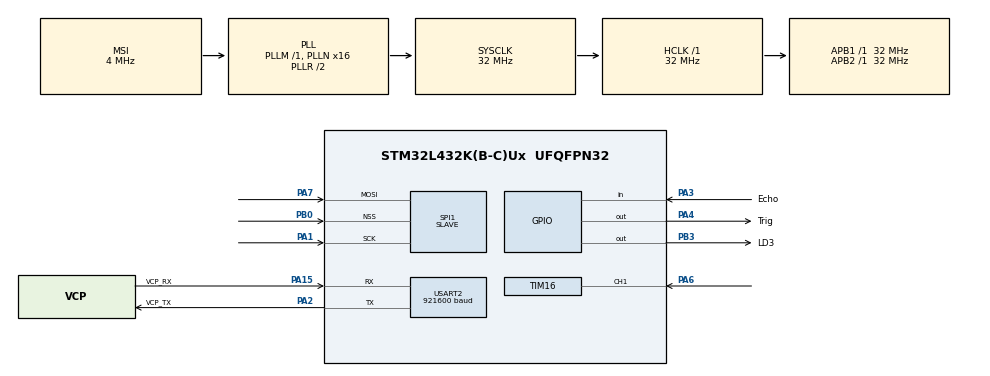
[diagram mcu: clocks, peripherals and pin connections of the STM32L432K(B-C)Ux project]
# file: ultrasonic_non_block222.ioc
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Dma.Request0=SPI1_RX
Dma.Request1=USART2_TX
Dma.SPI1_RX.0.Direction=DMA_PERIPH_TO_MEMORY
Dma.SPI1_RX.0.Instance=DMA2_Channel3
Dma.SPI1_RX.0.MemDataAlignment=DMA_MDATAALIGN_HALFWORD
Dma.SPI1_RX.0.MemInc=DMA_MINC_ENABLE
Dma.SPI1_RX.0.Mode=DMA_CIRCULAR
Dma.SPI1_RX.0.PeriphDataAlignment=DMA_PDATAALIGN_HALFWORD
Dma.SPI1_RX.0.PeriphInc=DMA_PINC_DISABLE
Dma.SPI1_RX.0.Priority=DMA_PRIORITY_LOW
Dma.USART2_TX.1.Direction=DMA_MEMORY_TO_PERIPH
Dma.USART2_TX.1.Instance=DMA1_Channel7
Dma.USART2_TX.1.MemDataAlignment=DMA_MDATAALIGN_BYTE
Dma.USART2_TX.1.MemInc=DMA_MINC_ENABLE
Dma.USART2_TX.1.Mode=DMA_NORMAL
Dma.USART2_TX.1.PeriphDataAlignment=DMA_PDATAALIGN_BYTE
Dma.USART2_TX.1.PeriphInc=DMA_PINC_DISABLE
Dma.USART2_TX.1.Priority=DMA_PRIORITY_LOW
Mcu.Family=STM32L4
Mcu.Name=STM32L432K(B-C)Ux
Mcu.Package=UFQFPN32
NVIC.DMA1_Channel7_IRQn=true\:0\:0\:false\:false\:true\:false\:true\:true
NVIC.DMA2_Channel3_IRQn=true\:0\:0\:false\:false\:true\:false\:true\:true
NVIC.PriorityGroup=NVIC_PRIORITYGROUP_4
NVIC.SPI1_IRQn=true\:0\:0\:false\:false\:true\:true\:true\:true
NVIC.TIM1_BRK_TIM15_IRQn=true\:0\:0\:false\:false\:true\:true\:true\:true
NVIC.TIM1_CC_IRQn=true\:0\:0\:false\:false\:true\:true\:true\:true
NVIC.TIM1_TRG_COM_IRQn=true\:0\:0\:false\:false\:true\:true\:true\:true
NVIC.TIM1_UP_TIM16_IRQn=true\:0\:0\:false\:false\:true\:true\:true\:true
NVIC.TIM2_IRQn=true\:0\:0\:false\:false\:true\:true\:true\:true
NVIC.USART2_IRQn=true\:0\:0\:false\:false\:true\:true\:true\:true
PA0.GPIO_Label=MCO [High speed clock in]
PA0.Mode=HSE-External-Clock-Source-for-LittleOrca
PA0.Signal=RCC_CK_IN
PA1.Mode=RX_Only_Simplex_Unidirect_Slave
PA1.Signal=SPI1_SCK
PA13\ (JTMS-SWDIO).GPIO_Label=SWDIO
PA13\ (JTMS-SWDIO).Mode=Serial_Wire
PA13\ (JTMS-SWDIO).Signal=SYS_JTMS-SWDIO
PA14\ (JTCK-SWCLK).GPIO_Label=SWCLK
PA14\ (JTCK-SWCLK).Mode=Serial_Wire
PA14\ (JTCK-SWCLK).Signal=SYS_JTCK-SWCLK
PA15\ (JTDI).GPIO_Label=VCP_RX
PA15\ (JTDI).Mode=Asynchronous
PA15\ (JTDI).Signal=USART2_RX
PA2.GPIO_Label=VCP_TX
PA2.Mode=Asynchronous
PA2.Signal=USART2_TX
PA3.GPIO_Label=Echo
PA3.Signal=GPIO_Input
PA4.GPIO_Label=Trig
PA4.Signal=GPIO_Output
PA6.Signal=S_TIM16_CH1
PA7.Mode=RX_Only_Simplex_Unidirect_Slave
PA7.Signal=SPI1_MOSI
PB0.Mode=NSS_Signal_Hard_Input
PB0.Signal=SPI1_NSS
PB3\ (JTDO-TRACESWO).GPIO_Label=LD3
PB3\ (JTDO-TRACESWO).Signal=GPIO_Output
PC14-OSC32_IN\ (PC14).Mode=LSE-External-Oscillator
PC14-OSC32_IN\ (PC14).Signal=RCC_OSC32_IN
PC15-OSC32_OUT\ (PC15).Mode=LSE-External-Oscillator
PC15-OSC32_OUT\ (PC15).Signal=RCC_OSC32_OUT
ProjectManager.HeapSize=0x200
ProjectManager.StackSize=0x400
ProjectManager.TargetToolchain=STM32CubeIDE
RCC.AHBFreq_Value=32000000
RCC.APB1Freq_Value=32000000
RCC.APB1TimFreq_Value=32000000
RCC.APB2Freq_Value=32000000
RCC.APB2TimFreq_Value=32000000
RCC.CortexFreq_Value=32000000
RCC.HCLKFreq_Value=32000000
RCC.HSE_VALUE=8000000
RCC.HSI16_VALUE=16000000
RCC.HSI48_VALUE=48000000
RCC.HSI_VALUE=16000000
RCC.MSI_VALUE=4000000
RCC.PLLMUL=RCC_PLLMUL_4
RCC.PLLN=16
RCC.SYSCLKFreq_VALUE=32000000
RCC.SYSCLKSource=RCC_SYSCLKSOURCE_PLLCLK
RCC.VCOOutputFreq_Value=64000000
SH.S_TIM16_CH1.0=TIM16_CH1,Input_Capture1_from_TI1
SPI1.CLKPhase=SPI_PHASE_1EDGE
SPI1.CLKPolarity=SPI_POLARITY_LOW
SPI1.DataSize=SPI_DATASIZE_16BIT
SPI1.Direction=SPI_DIRECTION_2LINES_RXONLY
SPI1.Mode=SPI_MODE_SLAVE
SPI1.VirtualNSS=VM_NSSHARD
SPI1.VirtualType=VM_SLAVE
TIM1.Period=10000
TIM1.Prescaler=31
TIM15.Period=12
TIM15.Prescaler=31
TIM16.Channel=TIM_CHANNEL_1
TIM16.Prescaler=31
TIM2.Period=200
TIM2.Prescaler=31
USART2.BaudRate=921600
USART2.VirtualMode-Asynchronous=VM_ASYNC
VP_TIM15_VS_ClockSourceINT.Mode=Internal
VP_TIM16_VS_ClockSourceINT.Mode=Enable_Timer
VP_TIM1_VS_ClockSourceINT.Mode=Internal
VP_TIM2_VS_ClockSourceINT.Mode=Internal
board=NUCLEO-L432KC

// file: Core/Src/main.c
/* USER CODE BEGIN Header */
/**
  ******************************************************************************
  * @file           : main.c
  * @brief          : Main program body
  ******************************************************************************
  * @attention
  *
  * Copyright (c) 2025 STMicroelectronics.
  * All rights reserved.
  *
  * This software is licensed under terms that can be found in the LICENSE file
  * in the root directory of this software component.
  * If no LICENSE file comes with this software, it is provided AS-IS.
  *
  ******************************************************************************
  */
/* USER CODE END Header */
#include "main.h"

/* USER CODE BEGIN Includes */
#include <string.h>
#include <stdio.h>
/* USER CODE END Includes */

SPI_HandleTypeDef hspi1;
DMA_HandleTypeDef hdma_spi1_rx;

TIM_HandleTypeDef htim1;
TIM_HandleTypeDef htim2;
TIM_HandleTypeDef htim15;
TIM_HandleTypeDef htim16;

UART_HandleTypeDef huart2;
DMA_HandleTypeDef hdma_usart2_tx;

void SystemClock_Config(void);
static void MX_GPIO_Init(void);
static void MX_DMA_Init(void);
static void MX_USART2_UART_Init(void);
static void MX_TIM1_Init(void);
static void MX_TIM16_Init(void);
static void MX_TIM15_Init(void);
static void MX_TIM2_Init(void);
static void MX_SPI1_Init(void);

/* USER CODE BEGIN 0 */
uint8_t edge_state;
uint16_t rising_edge;
uint16_t falling_edge;
uint8_t distance;
uint16_t in_range = 0x0000;
uint16_t start_bit = 0xFFFF;

#define BUFFER_SIZE 512
uint16_t spi_rx_buffer[BUFFER_SIZE];
uint16_t uart_tx_buffer0[BUFFER_SIZE / 2 + 2];
uint16_t uart_tx_buffer1[BUFFER_SIZE / 2 + 2];
uint16_t last_sample = 2048;
volatile uint8_t phase = 0;
volatile uint8_t isReady = 0;
volatile uint8_t isTransmit = 1;
char uart_msg[64];

void HAL_TIM_PeriodElapsedCallback(TIM_HandleTypeDef *htim){
	if(htim->Instance == TIM1){
		HAL_GPIO_WritePin(Trig_GPIO_Port, Trig_Pin, 1);
		HAL_TIM_Base_Start_IT(&htim15);
	}
	else if(htim->Instance == TIM15){
		HAL_GPIO_WritePin(Trig_GPIO_Port, Trig_Pin, 0);
		HAL_TIM_Base_Stop_IT(&htim15);
		__HAL_TIM_SET_COUNTER(&htim15, 0);
	}
}

void HAL_TIM_IC_CaptureCallback(TIM_HandleTypeDef *htim){
	if (htim->Instance == TIM16 && htim->Channel == HAL_TIM_ACTIVE_CHANNEL_1){
		if (edge_state == 0) {
			rising_edge = HAL_TIM_ReadCapturedValue(htim, TIM_CHANNEL_1);
			__HAL_TIM_SET_CAPTUREPOLARITY(htim, TIM_CHANNEL_1, TIM_INPUTCHANNELPOLARITY_FALLING);
			edge_state = 1;
		} else {
			falling_edge = HAL_TIM_ReadCapturedValue(htim, TIM_CHANNEL_1);
			__HAL_TIM_SET_CAPTUREPOLARITY(htim, TIM_CHANNEL_1, TIM_INPUTCHANNELPOLARITY_RISING);
			edge_state = 0;

			distance = (falling_edge - rising_edge)/58;

			if(in_range == 0){
				if(distance <= 20){
					in_range = 0x0001;
					HAL_GPIO_WritePin(LD3_GPIO_Port, LD3_Pin, 1);
				}
			} else if(in_range == 1){
				if(distance > 25){
					in_range = 0x0000;
					HAL_GPIO_WritePin(LD3_GPIO_Port, LD3_Pin, 0);
				}
			}
		}
	}
}

void HAL_SPI_RxHalfCpltCallback(SPI_HandleTypeDef *hspi) {
    if (hspi->Instance == SPI1) {
    	uart_tx_buffer0[0] = start_bit;
    	uart_tx_buffer0[1] = in_range;
        for (int i = 0; i < BUFFER_SIZE / 2; ++ i) {
        		uart_tx_buffer0[i + 2] = (last_sample + spi_rx_buffer[i]) >> 1;
        		last_sample = spi_rx_buffer[i];
        }
        isReady = 1;

    }
}

void HAL_SPI_RxCpltCallback(SPI_HandleTypeDef *hspi) {
    if (hspi->Instance == SPI1) {
    	uart_tx_buffer1[0] = start_bit;
    	uart_tx_buffer1[1] = in_range;
        for (int i = 0; i < BUFFER_SIZE / 2; ++ i) {
        		uart_tx_buffer1[i + 2] = (last_sample + spi_rx_buffer[i + BUFFER_SIZE / 2]) >> 1;
        		last_sample = spi_rx_buffer[i + BUFFER_SIZE / 2];
        }
        isReady = 1;
    }
}

void HAL_UART_TxCpltCallback(UART_HandleTypeDef *huart) {
    if (huart->Instance == USART2) {
    	isTransmit = 1;
    	if(phase == 0) {
    		phase = 1;
    	} else {
    		phase = 0;
    	}

    }
}

/* USER CODE END 0 */

int main(void)
{

  /* MCU Configuration--------------------------------------------------------*/

  /* Reset of all peripherals, Initializes the Flash interface and the Systick. */
  HAL_Init();

  /* Configure the system clock */
  SystemClock_Config();

  /* Initialize all configured peripherals */
  MX_GPIO_Init();
  MX_DMA_Init();
  MX_USART2_UART_Init();
  MX_TIM1_Init();
  MX_TIM16_Init();
  MX_TIM15_Init();
  MX_TIM2_Init();
  MX_SPI1_Init();
  /* USER CODE BEGIN 2 */
  HAL_TIM_Base_Start_IT(&htim1);
  HAL_TIM_IC_Start_IT(&htim16, TIM_CHANNEL_1);
  HAL_SPI_Receive_DMA(&hspi1, (uint8_t*)spi_rx_buffer, (BUFFER_SIZE) * 2);
  /* USER CODE END 2 */

  /* Infinite loop */
  while (1){

    /* USER CODE BEGIN 3 */
		  if (isReady && isTransmit) {
			  isReady = 0;
			  isTransmit = 0;
			  if (phase == 0) {
				  HAL_UART_Transmit_DMA(&huart2, (uint8_t*)uart_tx_buffer0, BUFFER_SIZE + 4);
//				  for (int i = 0; i < BUFFER_SIZE / 2; i ++) {
//					  sprintf(uart_msg, "0|%d : %u\r\n", i, uart_tx_buffer0[i]);
//					  HAL_UART_Transmit(&huart2, (uint8_t*)uart_msg, strlen(uart_msg), HAL_MAX_DELAY);
//				  }

//				  = uart_tx_buffer0[0];
//				  sprintf(uart_msg, "ADC sampled being sent B1: %u\r\n", first_adc_value);
//				  HAL_UART_Transmit(&huart2, (uint8_t*)uart_msg, strlen(uart_msg), HAL_MAX_DELAY);
//				  first_adc_value = uart_tx_buffer0[1];
//				  sprintf(uart_msg, "ADC sampled being sent B2: %u\r\n", first_adc_value);
//				  HAL_UART_Transmit(&huart2, (uint8_t*)uart_msg, strlen(uart_msg), HAL_MAX_DELAY);
//				  first_adc_value = uart_tx_buffer0[2];
//				  sprintf(uart_msg, "ADC sampled being sent B3: %u\r\n", first_adc_value);
//				  HAL_UART_Transmit(&huart2, (uint8_t*)uart_msg, strlen(uart_msg), HAL_MAX_DELAY);
//				  first_adc_value = uart_tx_buffer0[(BUFFER_SIZE / 2) - 1];
//				  sprintf(uart_msg, "ADC sampled being sent B3: %u\r\n", first_adc_value);
//				  HAL_UART_Transmit_DMA(&huart2, (uint8_t*)uart_msg, strlen(uart_msg));
			  } else {
				  HAL_UART_Transmit_DMA(&huart2, (uint8_t*)uart_tx_buffer1, BUFFER_SIZE + 4);
//				  for (int i = 0; i < BUFFER_SIZE / 2; i ++) {
//					  sprintf(uart_msg, "1|%d : %u\r\n", i, uart_tx_buffer1[i]);
//					  HAL_UART_Transmit(&huart2, (uint8_t*)uart_msg, strlen(uart_msg), HAL_MAX_DELAY);
//				  }
//				  uint16_t first_adc_value = uart_tx_buffer1[0];
//				  sprintf(uart_msg, "ADC sampled being sent B1: %u\r\n", first_adc_value);
//				  HAL_UART_Transmit(&huart2, (uint8_t*)uart_msg, strlen(uart_msg), HAL_MAX_DELAY);
//				  first_adc_value = uart_tx_buffer1[1];
//				  sprintf(uart_msg, "ADC sampled being sent B2: %u\r\n", first_adc_value);
//				  HAL_UART_Transmit(&huart2, (uint8_t*)uart_msg, strlen(uart_msg), HAL_MAX_DELAY);
//				  first_adc_value = uart_tx_buffer1[2];
//				  sprintf(uart_msg, "ADC sampled being sent B3: %u\r\n", first_adc_value);
//				  HAL_UART_Transmit(&huart2, (uint8_t*)uart_msg, strlen(uart_msg), HAL_MAX_DELAY);
//				  first_adc_value = uart_tx_buffer1[(BUFFER_SIZE / 2) - 1];
//				  sprintf(uart_msg, "ADC sampled being sent B3: %u\r\n", first_adc_value);
//				  HAL_UART_Transmit_DMA(&huart2, (uint8_t*)uart_msg, strlen(uart_msg));

			  }
		  }
  }
  /* USER CODE END 3 */
}

void SystemClock_Config(void)
{
  RCC_OscInitTypeDef RCC_OscInitStruct = {0};
  RCC_ClkInitTypeDef RCC_ClkInitStruct = {0};

  /** Configure the main internal regulator output voltage
  */
  if (HAL_PWREx_ControlVoltageScaling(PWR_REGULATOR_VOLTAGE_SCALE1) != HAL_OK)
  {
    Error_Handler();
  }

  /** Configure LSE Drive Capability
  */
  HAL_PWR_EnableBkUpAccess();
  __HAL_RCC_LSEDRIVE_CONFIG(RCC_LSEDRIVE_LOW);

  /** Initializes the RCC Oscillators according to the specified parameters
  * in the RCC_OscInitTypeDef structure.
  */
  RCC_OscInitStruct.OscillatorType = RCC_OSCILLATORTYPE_LSI|RCC_OSCILLATORTYPE_LSE
                              |RCC_OSCILLATORTYPE_MSI;
  RCC_OscInitStruct.LSEState = RCC_LSE_ON;
  RCC_OscInitStruct.LSIState = RCC_LSI_ON;
  RCC_OscInitStruct.MSIState = RCC_MSI_ON;
  RCC_OscInitStruct.MSICalibrationValue = 0;
  RCC_OscInitStruct.MSIClockRange = RCC_MSIRANGE_6;
  RCC_OscInitStruct.PLL.PLLState = RCC_PLL_ON;
  RCC_OscInitStruct.PLL.PLLSource = RCC_PLLSOURCE_MSI;
  RCC_OscInitStruct.PLL.PLLM = 1;
  RCC_OscInitStruct.PLL.PLLN = 16;
  RCC_OscInitStruct.PLL.PLLP = RCC_PLLP_DIV7;
  RCC_OscInitStruct.PLL.PLLQ = RCC_PLLQ_DIV2;
  RCC_OscInitStruct.PLL.PLLR = RCC_PLLR_DIV2;
  if (HAL_RCC_OscConfig(&RCC_OscInitStruct) != HAL_OK)
  {
    Error_Handler();
  }

  /** Initializes the CPU, AHB and APB buses clocks
  */
  RCC_ClkInitStruct.ClockType = RCC_CLOCKTYPE_HCLK|RCC_CLOCKTYPE_SYSCLK
                              |RCC_CLOCKTYPE_PCLK1|RCC_CLOCKTYPE_PCLK2;
  RCC_ClkInitStruct.SYSCLKSource = RCC_SYSCLKSOURCE_PLLCLK;
  RCC_ClkInitStruct.AHBCLKDivider = RCC_SYSCLK_DIV1;
  RCC_ClkInitStruct.APB1CLKDivider = RCC_HCLK_DIV1;
  RCC_ClkInitStruct.APB2CLKDivider = RCC_HCLK_DIV1;

  if (HAL_RCC_ClockConfig(&RCC_ClkInitStruct, FLASH_LATENCY_1) != HAL_OK)
  {
    Error_Handler();
  }

  /** Enable MSI Auto calibration
  */
  HAL_RCCEx_EnableMSIPLLMode();
}

static void MX_SPI1_Init(void)
{

  /* SPI1 parameter configuration*/
  hspi1.Instance = SPI1;
  hspi1.Init.Mode = SPI_MODE_SLAVE;
  hspi1.Init.Direction = SPI_DIRECTION_2LINES_RXONLY;
  hspi1.Init.DataSize = SPI_DATASIZE_16BIT;
  hspi1.Init.CLKPolarity = SPI_POLARITY_LOW;
  hspi1.Init.CLKPhase = SPI_PHASE_1EDGE;
  hspi1.Init.NSS = SPI_NSS_HARD_INPUT;
  hspi1.Init.FirstBit = SPI_FIRSTBIT_MSB;
  hspi1.Init.TIMode = SPI_TIMODE_DISABLE;
  hspi1.Init.CRCCalculation = SPI_CRCCALCULATION_DISABLE;
  hspi1.Init.CRCPolynomial = 7;
  hspi1.Init.CRCLength = SPI_CRC_LENGTH_DATASIZE;
  hspi1.Init.NSSPMode = SPI_NSS_PULSE_DISABLE;
  if (HAL_SPI_Init(&hspi1) != HAL_OK)
  {
    Error_Handler();
  }

}

static void MX_TIM1_Init(void)
{

  TIM_ClockConfigTypeDef sClockSourceConfig = {0};
  TIM_MasterConfigTypeDef sMasterConfig = {0};

  htim1.Instance = TIM1;
  htim1.Init.Prescaler = 31;
  htim1.Init.CounterMode = TIM_COUNTERMODE_UP;
  htim1.Init.Period = 10000;
  htim1.Init.ClockDivision = TIM_CLOCKDIVISION_DIV1;
  htim1.Init.RepetitionCounter = 0;
  htim1.Init.AutoReloadPreload = TIM_AUTORELOAD_PRELOAD_DISABLE;
  if (HAL_TIM_Base_Init(&htim1) != HAL_OK)
  {
    Error_Handler();
  }
  sClockSourceConfig.ClockSource = TIM_CLOCKSOURCE_INTERNAL;
  if (HAL_TIM_ConfigClockSource(&htim1, &sClockSourceConfig) != HAL_OK)
  {
    Error_Handler();
  }
  sMasterConfig.MasterOutputTrigger = TIM_TRGO_RESET;
  sMasterConfig.MasterOutputTrigger2 = TIM_TRGO2_RESET;
  sMasterConfig.MasterSlaveMode = TIM_MASTERSLAVEMODE_DISABLE;
  if (HAL_TIMEx_MasterConfigSynchronization(&htim1, &sMasterConfig) != HAL_OK)
  {
    Error_Handler();
  }

}

static void MX_TIM2_Init(void)
{

  TIM_ClockConfigTypeDef sClockSourceConfig = {0};
  TIM_MasterConfigTypeDef sMasterConfig = {0};

  htim2.Instance = TIM2;
  htim2.Init.Prescaler = 31;
  htim2.Init.CounterMode = TIM_COUNTERMODE_UP;
  htim2.Init.Period = 200;
  htim2.Init.ClockDivision = TIM_CLOCKDIVISION_DIV1;
  htim2.Init.AutoReloadPreload = TIM_AUTORELOAD_PRELOAD_DISABLE;
  if (HAL_TIM_Base_Init(&htim2) != HAL_OK)
  {
    Error_Handler();
  }
  sClockSourceConfig.ClockSource = TIM_CLOCKSOURCE_INTERNAL;
  if (HAL_TIM_ConfigClockSource(&htim2, &sClockSourceConfig) != HAL_OK)
  {
    Error_Handler();
  }
  sMasterConfig.MasterOutputTrigger = TIM_TRGO_RESET;
  sMasterConfig.MasterSlaveMode = TIM_MASTERSLAVEMODE_DISABLE;
  if (HAL_TIMEx_MasterConfigSynchronization(&htim2, &sMasterConfig) != HAL_OK)
  {
    Error_Handler();
  }

}

static void MX_TIM15_Init(void)
{

  TIM_ClockConfigTypeDef sClockSourceConfig = {0};
  TIM_MasterConfigTypeDef sMasterConfig = {0};

  htim15.Instance = TIM15;
  htim15.Init.Prescaler = 31;
  htim15.Init.CounterMode = TIM_COUNTERMODE_UP;
  htim15.Init.Period = 12;
  htim15.Init.ClockDivision = TIM_CLOCKDIVISION_DIV1;
  htim15.Init.RepetitionCounter = 0;
  htim15.Init.AutoReloadPreload = TIM_AUTORELOAD_PRELOAD_DISABLE;
  if (HAL_TIM_Base_Init(&htim15) != HAL_OK)
  {
    Error_Handler();
  }
  sClockSourceConfig.ClockSource = TIM_CLOCKSOURCE_INTERNAL;
  if (HAL_TIM_ConfigClockSource(&htim15, &sClockSourceConfig) != HAL_OK)
  {
    Error_Handler();
  }
  sMasterConfig.MasterOutputTrigger = TIM_TRGO_RESET;
  sMasterConfig.MasterSlaveMode = TIM_MASTERSLAVEMODE_DISABLE;
  if (HAL_TIMEx_MasterConfigSynchronization(&htim15, &sMasterConfig) != HAL_OK)
  {
    Error_Handler();
  }

}

static void MX_TIM16_Init(void)
{

  TIM_IC_InitTypeDef sConfigIC = {0};

  htim16.Instance = TIM16;
  htim16.Init.Prescaler = 31;
  htim16.Init.CounterMode = TIM_COUNTERMODE_UP;
  htim16.Init.Period = 65535;
  htim16.Init.ClockDivision = TIM_CLOCKDIVISION_DIV1;
  htim16.Init.RepetitionCounter = 0;
  htim16.Init.AutoReloadPreload = TIM_AUTORELOAD_PRELOAD_DISABLE;
  if (HAL_TIM_Base_Init(&htim16) != HAL_OK)
  {
    Error_Handler();
  }
  if (HAL_TIM_IC_Init(&htim16) != HAL_OK)
  {
    Error_Handler();
  }
  sConfigIC.ICPolarity = TIM_INPUTCHANNELPOLARITY_RISING;
  sConfigIC.ICSelection = TIM_ICSELECTION_DIRECTTI;
  sConfigIC.ICPrescaler = TIM_ICPSC_DIV1;
  sConfigIC.ICFilter = 0;
  if (HAL_TIM_IC_ConfigChannel(&htim16, &sConfigIC, TIM_CHANNEL_1) != HAL_OK)
  {
    Error_Handler();
  }

}

static void MX_USART2_UART_Init(void)
{

  huart2.Instance = USART2;
  huart2.Init.BaudRate = 921600;
  huart2.Init.WordLength = UART_WORDLENGTH_8B;
  huart2.Init.StopBits = UART_STOPBITS_1;
  huart2.Init.Parity = UART_PARITY_NONE;
  huart2.Init.Mode = UART_MODE_TX_RX;
  huart2.Init.HwFlowCtl = UART_HWCONTROL_NONE;
  huart2.Init.OverSampling = UART_OVERSAMPLING_16;
  huart2.Init.OneBitSampling = UART_ONE_BIT_SAMPLE_DISABLE;
  huart2.AdvancedInit.AdvFeatureInit = UART_ADVFEATURE_NO_INIT;
  if (HAL_UART_Init(&huart2) != HAL_OK)
  {
    Error_Handler();
  }

}

static void MX_DMA_Init(void)
{

  /* DMA controller clock enable */
  __HAL_RCC_DMA2_CLK_ENABLE();
  __HAL_RCC_DMA1_CLK_ENABLE();

  /* DMA interrupt init */
  /* DMA1_Channel7_IRQn interrupt configuration */
  HAL_NVIC_SetPriority(DMA1_Channel7_IRQn, 0, 0);
  HAL_NVIC_EnableIRQ(DMA1_Channel7_IRQn);
  /* DMA2_Channel3_IRQn interrupt configuration */
  HAL_NVIC_SetPriority(DMA2_Channel3_IRQn, 0, 0);
  HAL_NVIC_EnableIRQ(DMA2_Channel3_IRQn);

}

static void MX_GPIO_Init(void)
{
  GPIO_InitTypeDef GPIO_InitStruct = {0};

  /* GPIO Ports Clock Enable */
  __HAL_RCC_GPIOC_CLK_ENABLE();
  __HAL_RCC_GPIOA_CLK_ENABLE();
  __HAL_RCC_GPIOB_CLK_ENABLE();

  /*Configure GPIO pin Output Level */
  HAL_GPIO_WritePin(Trig_GPIO_Port, Trig_Pin, GPIO_PIN_RESET);

  /*Configure GPIO pin Output Level */
  HAL_GPIO_WritePin(LD3_GPIO_Port, LD3_Pin, GPIO_PIN_RESET);

  /*Configure GPIO pin : Echo_Pin */
  GPIO_InitStruct.Pin = Echo_Pin;
  GPIO_InitStruct.Mode = GPIO_MODE_INPUT;
  GPIO_InitStruct.Pull = GPIO_NOPULL;
  HAL_GPIO_Init(Echo_GPIO_Port, &GPIO_InitStruct);

  /*Configure GPIO pin : Trig_Pin */
  GPIO_InitStruct.Pin = Trig_Pin;
  GPIO_InitStruct.Mode = GPIO_MODE_OUTPUT_PP;
  GPIO_InitStruct.Pull = GPIO_NOPULL;
  GPIO_InitStruct.Speed = GPIO_SPEED_FREQ_LOW;
  HAL_GPIO_Init(Trig_GPIO_Port, &GPIO_InitStruct);

  /*Configure GPIO pin : LD3_Pin */
  GPIO_InitStruct.Pin = LD3_Pin;
  GPIO_InitStruct.Mode = GPIO_MODE_OUTPUT_PP;
  GPIO_InitStruct.Pull = GPIO_NOPULL;
  GPIO_InitStruct.Speed = GPIO_SPEED_FREQ_LOW;
  HAL_GPIO_Init(LD3_GPIO_Port, &GPIO_InitStruct);

}

void Error_Handler(void)
{
  __disable_irq();
  while (1)
  {
  }
}
